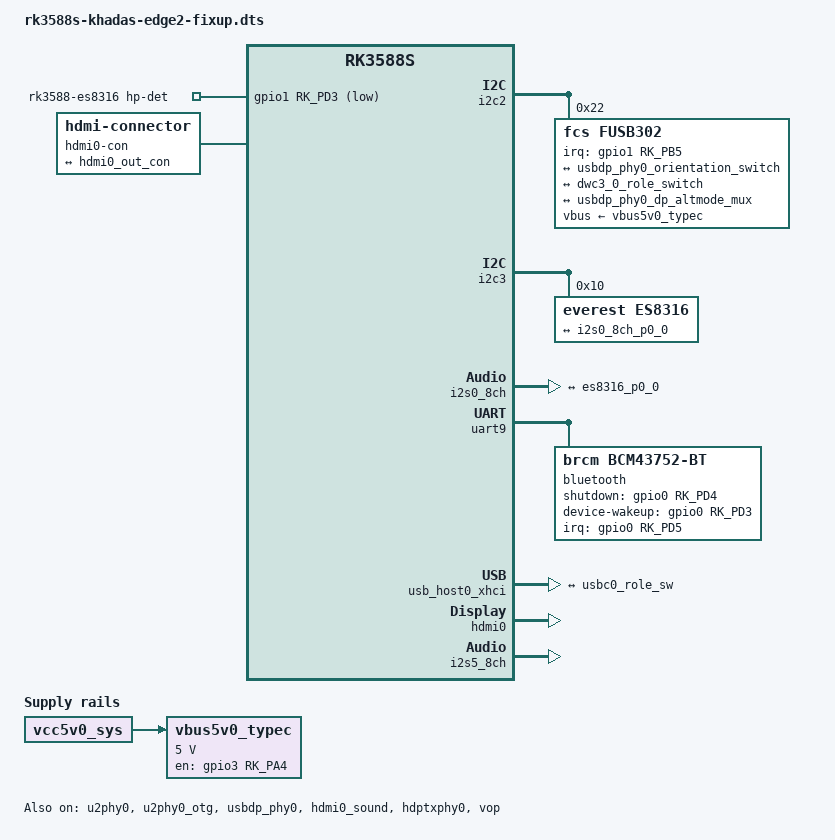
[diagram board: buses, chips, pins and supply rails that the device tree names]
// SPDX-License-Identifier: (GPL-2.0+ OR MIT)

#include <dt-bindings/soc/rockchip,vop2.h>
#include <dt-bindings/usb/pd.h>
#include "rk3588s-khadas-edge2.dts"

/ {
	analog-sound {
		compatible = "audio-graph-card";
		label = "rk3588-es8316";

		widgets = "Microphone", "Mic Jack",
			  "Headphone", "Headphones";

		routing = "MIC2", "Mic Jack",
			  "Headphones", "HPOL",
			  "Headphones", "HPOR";

		dais = <&i2s0_8ch_p0>;
		hp-det-gpios = <&gpio1 RK_PD3 GPIO_ACTIVE_LOW>;
		pinctrl-names = "default";
		pinctrl-0 = <&hp_detect>;
	};

	hdmi0-con {
		compatible = "hdmi-connector";
		type = "a";

		port {
			hdmi0_con_in: endpoint {
				remote-endpoint = <&hdmi0_out_con>;
			};
		};
	};

	vbus5v0_typec: regulator-vbus5v0-typec {
		compatible = "regulator-fixed";
		regulator-name = "vbus5v0_typec";
		regulator-boot-on;
		regulator-min-microvolt = <5000000>;
		regulator-max-microvolt = <5000000>;
		enable-active-high;
		gpio = <&gpio3 RK_PA4 GPIO_ACTIVE_HIGH>;
		pinctrl-names = "default";
		pinctrl-0 = <&typec5v_pwren>;
		vin-supply = <&vcc5v0_sys>;
	};
};

&i2c2 {
	fusb302: typec-portc@22 {
		compatible = "fcs,fusb302";
		reg = <0x22>;
		interrupt-parent = <&gpio1>;
		interrupts = <RK_PB5 IRQ_TYPE_LEVEL_LOW>;
		pinctrl-names = "default";
		pinctrl-0 = <&usbc0_int>;
		vbus-supply = <&vbus5v0_typec>;

		usb_con: connector {
			compatible = "usb-c-connector";
			data-role = "dual";
			label = "USB-C";
			power-role = "dual";
			try-power-role = "source";
			op-sink-microwatt = <1000000>;
			sink-pdos =
				<PDO_FIXED(5000, 3000, PDO_FIXED_USB_COMM)
				 PDO_FIXED(9000, 3000, PDO_FIXED_USB_COMM)
				 PDO_FIXED(12000, 3000, PDO_FIXED_USB_COMM)>;
			source-pdos =
				<PDO_FIXED(5000, 3000, PDO_FIXED_USB_COMM)>;

			ports {
				#address-cells = <1>;
				#size-cells = <0>;

				port@0 {
					reg = <0>;

					usbc0_orien_sw: endpoint {
						remote-endpoint = <&usbdp_phy0_orientation_switch>;
					};
				};

				port@1 {
					reg = <1>;

					usbc0_role_sw: endpoint {
						remote-endpoint = <&dwc3_0_role_switch>;
					};
				};

				port@2 {
					reg = <2>;

					dp_altmode_mux: endpoint {
						remote-endpoint = <&usbdp_phy0_dp_altmode_mux>;
					};
				};
			};
		};
	};
};

&i2c3 {
	status = "okay";

	es8316: audio-codec@10 {
		compatible = "everest,es8316";
		reg = <0x10>;
		clocks = <&cru I2S0_8CH_MCLKOUT>;
		clock-names = "mclk";
		assigned-clocks = <&cru I2S0_8CH_MCLKOUT>;
		assigned-clock-rates = <12288000>;
		#sound-dai-cells = <0>;

		port {
			es8316_p0_0: endpoint {
				remote-endpoint = <&i2s0_8ch_p0_0>;
			};
		};
	};
};

&i2s0_8ch {
	pinctrl-names = "default";
	pinctrl-0 = <&i2s0_lrck
		     &i2s0_mclk
		     &i2s0_sclk
		     &i2s0_sdi0
		     &i2s0_sdo0>;
	status = "okay";

	i2s0_8ch_p0: port {
		i2s0_8ch_p0_0: endpoint {
			dai-format = "i2s";
			mclk-fs = <256>;
			remote-endpoint = <&es8316_p0_0>;
		};
	};
};

&pinctrl {
	usb-typec {
		usbc0_int: usbc0-int {
			rockchip,pins = <1 RK_PB5 RK_FUNC_GPIO &pcfg_pull_up>;
		};

		typec5v_pwren: typec5v-pwren {
			rockchip,pins = <3 RK_PA4 RK_FUNC_GPIO &pcfg_pull_none>;
		};
	};

	sound {
		hp_detect: hp-detect {
			rockchip,pins = <1 RK_PD3 RK_FUNC_GPIO &pcfg_pull_none>;
		};
	};

	bluetooth {
		bt_reset: bt-reset {
			rockchip,pins = <0 RK_PD4 RK_FUNC_GPIO &pcfg_pull_none>;
		};

		bt_dev_wake: bt-dev-wake {
			rockchip,pins = <0 RK_PD3 RK_FUNC_GPIO &pcfg_pull_none>;
		};

		bt_host_wake: bt-host-wake {
			rockchip,pins = <0 RK_PD5 RK_FUNC_GPIO &pcfg_pull_down>;
		};
	};
};

&uart9 {
	pinctrl-names = "default";
	pinctrl-0 = <&uart9m2_xfer>, <&uart9m2_rtsn>, <&uart9m2_ctsn>;
	uart-has-rtscts;

	bluetooth {
		compatible = "brcm,bcm43752-bt", "cypress,cyw4373a0-bt";
		max-speed = <4000000>;
		clocks = <&hym8563>;
		clock-names = "lpo";
		shutdown-gpios = <&gpio0 RK_PD4 GPIO_ACTIVE_HIGH>;
		device-wakeup-gpios = <&gpio0 RK_PD3 GPIO_ACTIVE_HIGH>;
		interrupt-parent = <&gpio0>;
		interrupts = <RK_PD5 IRQ_TYPE_LEVEL_HIGH>;
		interrupt-names = "host-wakeup";
		pinctrl-names = "default";
		pinctrl-0 = <&bt_reset>, <&bt_dev_wake>, <&bt_host_wake>;
	};
};

&u2phy0 {
	status = "okay";
};

&u2phy0_otg {
	status = "okay";
};

&usbdp_phy0 {
	mode-switch;
	orientation-switch;
	sbu1-dc-gpios = <&gpio4 RK_PA0 GPIO_ACTIVE_HIGH>;
	sbu2-dc-gpios = <&gpio4 RK_PA1 GPIO_ACTIVE_HIGH>;
	status = "okay";

	port {
		#address-cells = <1>;
		#size-cells = <0>;

		usbdp_phy0_orientation_switch: endpoint@0 {
			reg = <0>;
			remote-endpoint = <&usbc0_orien_sw>;
		};

		usbdp_phy0_dp_altmode_mux: endpoint@1 {
			reg = <1>;
			remote-endpoint = <&dp_altmode_mux>;
		};
	};
};

&usb_host0_xhci {
	usb-role-switch;
	status = "okay";

	port {
		dwc3_0_role_switch: endpoint {
			remote-endpoint = <&usbc0_role_sw>;
		};
	};
};

&hdmi0 {
	status = "okay";
};

&hdmi0_in {
	hdmi0_in_vp0: endpoint {
		remote-endpoint = <&vp0_out_hdmi0>;
	};
};

&hdmi0_out {
	hdmi0_out_con: endpoint {
		remote-endpoint = <&hdmi0_con_in>;
	};
};

&hdmi0_sound {
 	status = "okay";
};

&hdptxphy0 {
	status = "okay";
};

&i2s5_8ch {
 	status = "okay";
};

&vop_mmu {
	status = "okay";
};

&vop {
	status = "okay";
};

&vp0 {
	vp0_out_hdmi0: endpoint@ROCKCHIP_VOP2_EP_HDMI0 {
		reg = <ROCKCHIP_VOP2_EP_HDMI0>;
		remote-endpoint = <&hdmi0_in_vp0>;
	};
};
